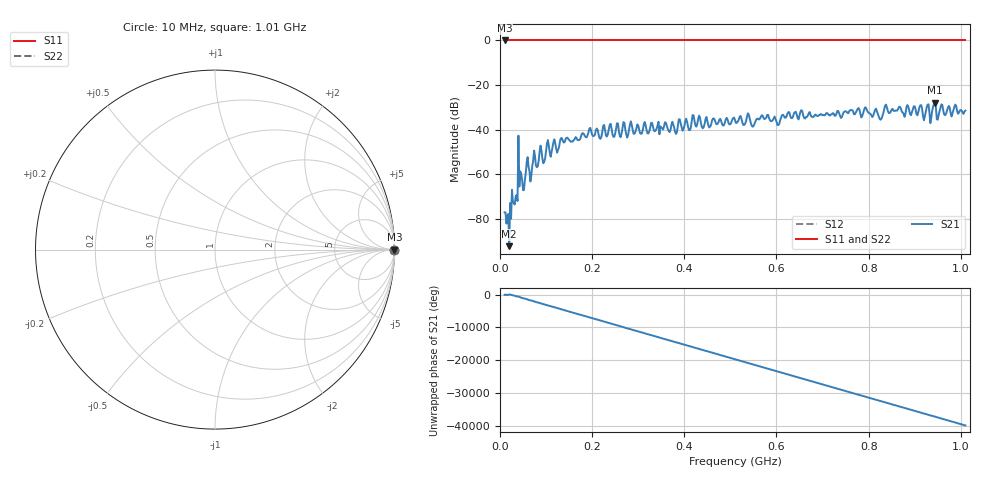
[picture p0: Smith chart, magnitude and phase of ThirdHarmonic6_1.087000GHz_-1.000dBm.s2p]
! 8/16/2025 10:03:53 AM
! C:\ANRITSUVNA\TEMP\TEMP.S2P
! CHANNEL.1
! TR.MEASUREMENT
! RAW.DATA
! RF.CORRECTION.OFF
! AVERAGING.OFF
! IF.BANDWIDTH: 5KHZ
! SWEEPTYPE:  FREQ.SWEEP(Linear)
! Reference Plane Port Info
! PORT:  PORT1  PORT2
! DISTANCE:  0  m  0  m
! TIME:  0  s  0  s
! PHASE.OFFSET:  0  deg.  0  deg.
! LOSS:  0  dB  0  dB
! REF.LOSS:  0  dB  0  dB
! REF.FREQ:  0  Hz  0  Hz
! Power Info
! POWER:  -20  dBm  -20  dBm
! EFF.POWER:  -20  dBm  -20  dBm
! SOURCE.ATTEN:  0  dB  0  dB
! TEST.ATTEN:  0  dB  0  dB
# GHZ S RI R 50.0
! FREQ.GHZ  S11RE  S11IM  S21RE  S21IM  S12RE  S12IM  S22RE  S22IM
!; PortSelection: Port_12
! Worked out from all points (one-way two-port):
!   501 points, 10 MHz to 1.01 GHz, reference 50 ohm
!   highest |S21| = -27.89 dB at 944 MHz (marker M1); lowest = -92.2 dB at 20 MHz (marker M2)
!   lowest |S11| = 0.0 dB at 10 MHz (marker M3)
!   |S11| at or under -10 dB: nowhere
!   |S22| runs from 0.0 to 0.0 dB; largest |S21 - S12| = 1
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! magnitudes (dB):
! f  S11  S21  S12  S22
! 10 MHz  0.0  -77.0  0.0  0.0
! 20 MHz  0.0  -92.2  0.0  0.0
! 34 MHz  0.0  -70.0  0.0  0.0
! 36 MHz  0.0  -69.3  0.0  0.0
! 44 MHz  0.0  -58.6  0.0  0.0
! 46 MHz  0.0  -59.9  0.0  0.0
! 52 MHz  0.0  -67.0  0.0  0.0
! 60 MHz  0.0  -52.3  0.0  0.0
! 66 MHz  0.0  -63.2  0.0  0.0
! 74 MHz  0.0  -49.4  0.0  0.0
! 96 MHz  0.0  -54.3  0.0  0.0
! 104 MHz  0.0  -44.6  0.0  0.0
! 178 MHz  0.0  -41.7  0.0  0.0
! 344 MHz  0.0  -36.4  0.0  0.0
! 510 MHz  0.0  -35.7  0.0  0.0
! 678 MHz  0.0  -34.2  0.0  0.0
! 826 MHz  0.0  -35.5  0.0  0.0
! 844 MHz  0.0  -32.5  0.0  0.0
! 944 MHz  0.0  -27.9  0.0  0.0
! 950 MHz  0.0  -35.5  0.0  0.0
! 958 MHz  0.0  -28.6  0.0  0.0
! 1.01 GHz  0.0  -31.4  0.0  0.0
